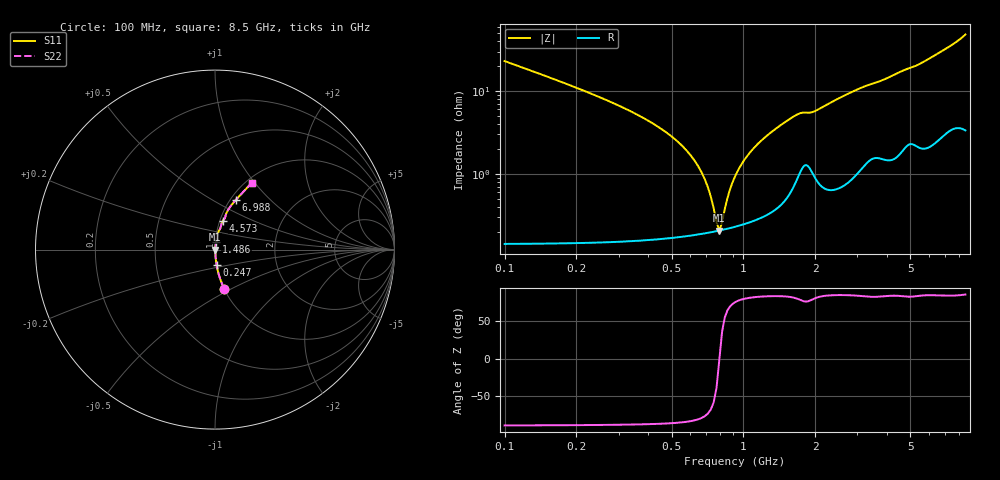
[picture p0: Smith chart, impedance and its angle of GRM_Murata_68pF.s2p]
!Murata Part Number: GRM1885C1H680JA01
!These Parameters are Measured in Series Mode Connection
!Data Generated on Mar 13, 2026
!  o--ll--o
!Port1  Port2
!  o------o
!Operation Temp=25[degC], DC Bias Voltage=0[V]
!Freq. Start=100[MHz] Stop=9[GHz] 401[Steps]
# Hz S RI R 50
!Freq.(Hz) S11(Real) S11(Imag) S21(Real) S21(Imag) S12(Real) S12(Imag) S22(Real) S22(Imag)
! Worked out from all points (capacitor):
!   401 points, 100 MHz to 8.5 GHz, reference 50 ohm
!   read as one part in series: C = 68 pF near 142 MHz
!   lowest |Z| = 206 mohm at 793 MHz (marker M1)
!   series resonance near 793.3 MHz, so ESL is about 590 pH
!   S11 on the Smith chart (normalised r, x): 100 MHz: 1.00, -0.46; 247 MHz: 1.00, -0.17; 1.486 GHz: 1.01, +0.08; 4.573 GHz: 1.04, +0.34; 6.988 GHz: 1.06, +0.64; 8.5 GHz: 1.07, +0.96
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1e8  0.0516 -0.2182  0.9484 0.2182  0.9484 0.2182  0.0516 -0.2182
2.47e8  0.00872 -0.0847  0.9913 0.0847  0.9913 0.0847  0.00872 -0.0847
6.04e8  0.00206 -0.0163  0.9979 0.0163  0.9979 0.0163  0.00206 -0.0163
6.88e8  0.00197 -0.00844  0.998 0.00844  0.998 0.00844  0.00197 -0.00844
7.72e8  0.00203 -0.00161  0.998 0.00161  0.998 0.00161  0.00203 -0.00161
7.93e8  0.00206 -2.17e-05  0.9979 2.17e-05  0.9979 2.17e-05  0.00206 -2.17e-05
8.35e8  0.00214 0.00304  0.9979 -0.00304  0.9979 -0.00304  0.00214 0.00304
8.77e8  0.00224 0.00596  0.9978 -0.00596  0.9978 -0.00596  0.00224 0.00596
9.19e8  0.00235 0.00876  0.9976 -0.00876  0.9976 -0.00876  0.00235 0.00876
1.024e9  0.00273 0.0154  0.9973 -0.0154  0.9973 -0.0154  0.00273 0.0154
1.213e9  0.00371 0.0263  0.9963 -0.0263  0.9963 -0.0263  0.00371 0.0263
1.486e9  0.00634 0.041  0.9937 -0.041  0.9937 -0.041  0.00634 0.041
1.507e9  0.00667 0.0421  0.9933 -0.0421  0.9933 -0.0421  0.00667 0.0421
1.717e9  0.0126 0.0516  0.9874 -0.0516  0.9874 -0.0516  0.0126 0.0516
1.948e9  0.0129 0.0536  0.9871 -0.0536  0.9871 -0.0536  0.0129 0.0536
2.914e9  0.0188 0.0976  0.9812 -0.0976  0.9812 -0.0976  0.0188 0.0976
4.3e9  0.0383 0.1495  0.9617 -0.1495  0.9617 -0.1495  0.0383 0.1495
4.573e9  0.0449 0.1613  0.9551 -0.1613  0.9551 -0.1613  0.0449 0.1613
5.707e9  0.0658 0.2076  0.9342 -0.2076  0.9342 -0.2076  0.0658 0.2076
6.988e9  0.1143 0.2748  0.8857 -0.2748  0.8857 -0.2748  0.1143 0.2748
7.114e9  0.1203 0.2814  0.8797 -0.2814  0.8797 -0.2814  0.1203 0.2814
8.5e9  0.2053 0.3707  0.7947 -0.3707  0.7947 -0.3707  0.2053 0.3707
